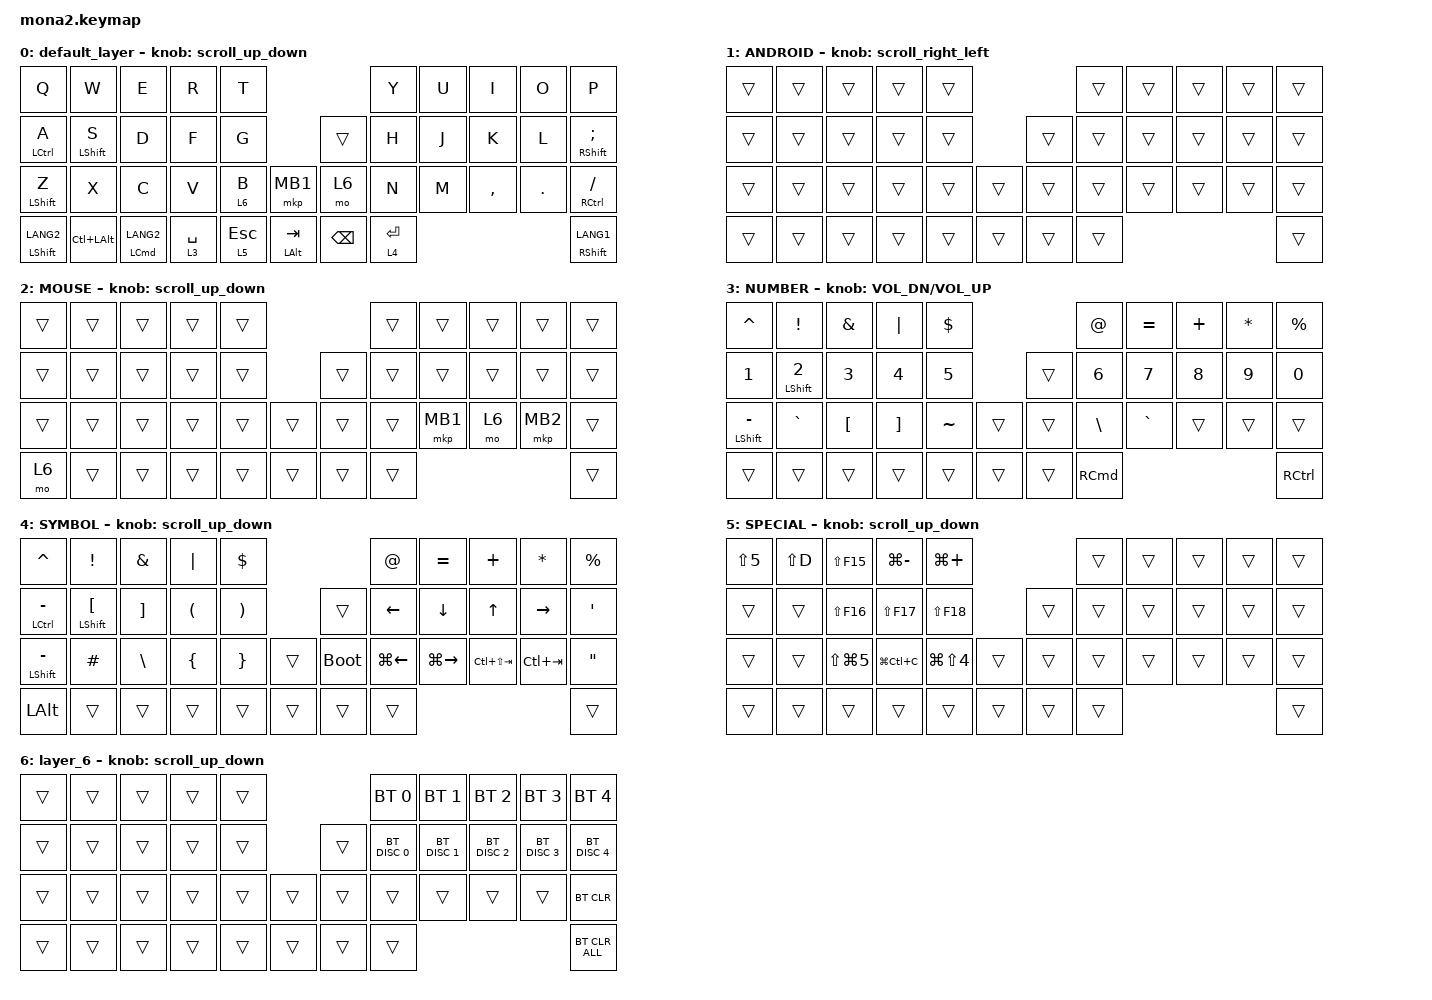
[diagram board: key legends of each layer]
#include <input/processors.dtsi>
#include <dt-bindings/zmk/input_transform.h>
#include <zephyr/dt-bindings/input/input-event-codes.h>
#include <behaviors.dtsi>
#include <dt-bindings/zmk/bt.h>
#include <dt-bindings/zmk/keys.h>
#include <dt-bindings/zmk/pointing.h>

#define ZMK_POINTING_DEFAULT_SCRL_VAL 100
#define MOUSE 5
#define SCROLL 6

&mt {
    flavor = "balanced";
    quick-tap-ms = <0>;
};

&lt {
    quick-tap-ms = <300>;
    flavor = "balanced";
};

/ {
    combos {
        compatible = "zmk,combos";

        layer4_ESC {
            bindings = <&lt 4 ESC>;
            key-positions = <39 38>;
        };

        tab {
            bindings = <&kp TAB>;
            key-positions = <11 12>;
        };
    };

    macros {
        to_layer_0: to_layer_0 {
            compatible = "zmk,behavior-macro-one-param";
            #binding-cells = <1>;
            bindings = <&to 0 &macro_param_1to1 &kp MACRO_PLACEHOLDER>;
            label = "TO_LAYER_0";
        };
    };

    behaviors {
        lt_to_layer_0: lt_to_layer_0 {
            compatible = "zmk,behavior-hold-tap";
            label = "LAYER_TAP_TO_0";
            bindings = <&mo>, <&to_layer_0>;

            #binding-cells = <2>;
            tapping-term-ms = <200>;
        };

        scroll_up_down: mouse_wheel_up_down {
            compatible = "zmk,behavior-sensor-rotate";
            #sensor-binding-cells = <0>;
            bindings = <&msc SCRL_UP>, <&msc SCRL_DOWN>;

            tap-ms = <20>;
        };

        scroll_right_left: mouse_wheel_right_left {
            compatible = "zmk,behavior-sensor-rotate";
            #sensor-binding-cells = <0>;
            bindings = <&msc SCRL_LEFT>, <&msc SCRL_RIGHT>;

            tap-ms = <20>;
        };
    };

    keymap {
        compatible = "zmk,keymap";

        default_layer {
            bindings = <
&kp Q                 &kp W             &kp E                   &kp R        &kp T                                         &kp Y        &kp U  &kp I      &kp O    &kp P
&mt LEFT_CONTROL A    &mt LEFT_SHIFT S  &kp D                   &kp F        &kp G                          &trans         &kp H        &kp J  &kp K      &kp L    &mt RIGHT_SHIFT SEMICOLON
&mt LEFT_SHIFT Z      &kp X             &kp C                   &kp V        &lt 6 B    &mkp MB1            &mo 6          &kp N        &kp M  &kp COMMA  &kp DOT  &mt RIGHT_CONTROL SLASH
&mt LEFT_SHIFT LANG2  &kp LC(LEFT_ALT)  &mt LEFT_COMMAND LANG2  &lt 3 SPACE  &lt 5 ESC  &mt LEFT_ALT TAB    &kp BACKSPACE  &lt 4 ENTER                             &mt RIGHT_SHIFT LANG1
            >;

            sensor-bindings = <&scroll_up_down>;
        };

        ANDROID {
            bindings = <
&trans  &trans  &trans  &trans  &trans                    &trans  &trans  &trans  &trans  &trans
&trans  &trans  &trans  &trans  &trans            &trans  &trans  &trans  &trans  &trans  &trans
&trans  &trans  &trans  &trans  &trans  &trans    &trans  &trans  &trans  &trans  &trans  &trans
&trans  &trans  &trans  &trans  &trans  &trans    &trans  &trans                          &trans
            >;

            sensor-bindings = <&scroll_right_left>;
        };

        MOUSE {
            bindings = <
&trans  &trans  &trans  &trans  &trans                    &trans  &trans    &trans  &trans    &trans
&trans  &trans  &trans  &trans  &trans            &trans  &trans  &trans    &trans  &trans    &trans
&trans  &trans  &trans  &trans  &trans  &trans    &trans  &trans  &mkp MB1  &mo 6   &mkp MB2  &trans
&mo 6   &trans  &trans  &trans  &trans  &trans    &trans  &trans                              &trans
            >;

            sensor-bindings = <&scroll_up_down>;
        };

        NUMBER {
            bindings = <
&kp CARET             &kp EXCLAMATION          &kp AMPERSAND     &kp PIPE           &kp DOLLAR                      &kp AT_SIGN        &kp EQUAL     &kp PLUS      &kp ASTERISK  &kp PERCENT
&kp NUMBER_1          &mt LEFT_SHIFT NUMBER_2  &kp NUMBER_3      &kp NUMBER_4       &kp NUMBER_5            &trans  &kp NUMBER_6       &kp NUMBER_7  &kp NUMBER_8  &kp NUMBER_9  &kp NUMBER_0
&mt LEFT_SHIFT MINUS  &kp GRAVE                &kp LEFT_BRACKET  &kp RIGHT_BRACKET  &kp TILDE     &trans    &trans  &kp BACKSLASH      &kp GRAVE     &trans        &trans        &trans
&trans                &trans                   &trans            &trans             &trans        &trans    &trans  &kp RIGHT_COMMAND                                            &kp RIGHT_CONTROL
            >;

            sensor-bindings = <&inc_dec_kp C_VOL_DN C_VOL_UP>;
        };

        SYMBOL {
            bindings = <
&kp CARET               &kp EXCLAMATION              &kp AMPERSAND      &kp PIPE              &kp DOLLAR                                    &kp AT_SIGN         &kp EQUAL            &kp PLUS         &kp ASTERISK     &kp PERCENT
&mt LEFT_CONTROL MINUS  &mt LEFT_SHIFT LEFT_BRACKET  &kp RIGHT_BRACKET  &kp LEFT_PARENTHESIS  &kp RIGHT_PARENTHESIS            &trans       &kp LEFT_ARROW      &kp DOWN             &kp UP_ARROW     &kp RIGHT_ARROW  &kp SINGLE_QUOTE
&mt LEFT_SHIFT MINUS    &kp HASH                     &kp BACKSLASH      &kp LEFT_BRACE        &kp RIGHT_BRACE        &trans    &bootloader  &kp LG(LEFT_ARROW)  &kp LG(RIGHT_ARROW)  &kp LC(LS(TAB))  &kp LC(TAB)      &kp DOUBLE_QUOTES
&kp LEFT_ALT            &trans                       &trans             &trans                &trans                 &trans    &trans       &trans                                                                     &trans
            >;

            sensor-bindings = <&scroll_up_down>;
        };

        SPECIAL {
            bindings = <
&kp LS(NUMBER_5)  &kp LS(D)  &kp LS(F15)           &kp LG(MINUS)  &kp LG(PLUS)                            &trans  &trans  &trans  &trans  &trans
&trans            &trans     &kp LS(F16)           &kp LS(F17)    &kp LS(F18)                     &trans  &trans  &trans  &trans  &trans  &trans
&trans            &trans     &kp LS(LG(NUMBER_5))  &kp LG(LC(C))  &kp LG(LS(NUMBER_4))  &trans    &trans  &trans  &trans  &trans  &trans  &trans
&trans            &trans     &trans                &trans         &trans                &trans    &trans  &trans                          &trans
            >;

            sensor-bindings = <&scroll_up_down>;
        };

        layer_6 {
            bindings = <
&trans  &trans  &trans  &trans  &trans                    &bt BT_SEL 0   &bt BT_SEL 1   &bt BT_SEL 2   &bt BT_SEL 3   &bt BT_SEL 4
&trans  &trans  &trans  &trans  &trans            &trans  &bt BT_DISC 0  &bt BT_DISC 1  &bt BT_DISC 2  &bt BT_DISC 3  &bt BT_DISC 4
&trans  &trans  &trans  &trans  &trans  &trans    &trans  &trans         &trans         &trans         &trans         &bt BT_CLR
&trans  &trans  &trans  &trans  &trans  &trans    &trans  &trans                                                      &bt BT_CLR_ALL
            >;

            sensor-bindings = <&scroll_up_down>;
        };
    };
};
